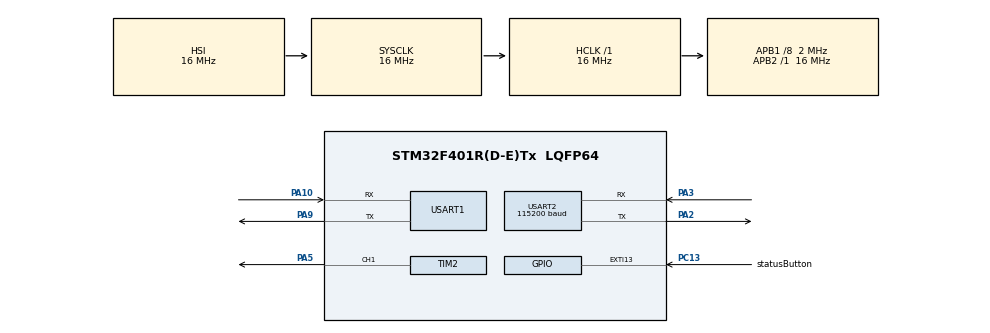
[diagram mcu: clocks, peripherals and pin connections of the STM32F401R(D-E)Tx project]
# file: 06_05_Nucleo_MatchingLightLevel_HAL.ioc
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Mcu.Family=STM32F4
Mcu.Name=STM32F401R(D-E)Tx
Mcu.Package=LQFP64
NVIC.EXTI15_10_IRQn=true\:0\:0\:false\:false\:true\:true\:true\:true
NVIC.PriorityGroup=NVIC_PRIORITYGROUP_4
PA10.Mode=Asynchronous
PA10.Signal=USART1_RX
PA2.Mode=Asynchronous
PA2.Signal=USART2_TX
PA3.Mode=Asynchronous
PA3.Signal=USART2_RX
PA5.Signal=S_TIM2_CH1_ETR
PA9.Mode=Asynchronous
PA9.Signal=USART1_TX
PC13-ANTI_TAMP.GPIO_Label=statusButton
PC13-ANTI_TAMP.Signal=GPXTI13
PH0\ -\ OSC_IN.Mode=HSE-External-Oscillator
PH0\ -\ OSC_IN.Signal=RCC_OSC_IN
PH1\ -\ OSC_OUT.Mode=HSE-External-Oscillator
PH1\ -\ OSC_OUT.Signal=RCC_OSC_OUT
ProjectManager.HeapSize=0x200
ProjectManager.StackSize=0x400
ProjectManager.TargetToolchain=STM32CubeIDE
RCC.48MHZClocksFreq_Value=48000000
RCC.AHBFreq_Value=16000000
RCC.APB1CLKDivider=RCC_HCLK_DIV8
RCC.APB1Freq_Value=2000000
RCC.APB1TimFreq_Value=4000000
RCC.APB2Freq_Value=16000000
RCC.CortexFreq_Value=16000000
RCC.HSE_VALUE=8000000
RCC.HSI_VALUE=16000000
RCC.LSE_VALUE=32768
RCC.SYSCLKFreq_VALUE=16000000
RCC.VCOOutputFreq_Value=192000000
SH.S_TIM2_CH1_ETR.0=TIM2_CH1,PWM Generation1 CH1
TIM2.Channel-PWM\ Generation1\ CH1=TIM_CHANNEL_1
TIM2.Period=100
TIM2.Prescaler=16
USART1.VirtualMode=VM_ASYNC
USART2.BaudRate=115200
USART2.VirtualMode=VM_ASYNC
board=custom

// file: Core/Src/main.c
/* USER CODE BEGIN Header */
/**
  ******************************************************************************
  * @file           : main.c
  * @brief          : Main program body
  ******************************************************************************
  * @attention
  *
  * Copyright (c) 2025 STMicroelectronics.
  * All rights reserved.
  *
  * This software is licensed under terms that can be found in the LICENSE file
  * in the root directory of this software component.
  * If no LICENSE file comes with this software, it is provided AS-IS.
  *
  ******************************************************************************
  */
/* USER CODE END Header */
#include "main.h"

TIM_HandleTypeDef htim2;

UART_HandleTypeDef huart1;
UART_HandleTypeDef huart2;

/* USER CODE BEGIN PV */

uint8_t status;
uint8_t isFirst;
/* USER CODE END PV */

void SystemClock_Config(void);
static void MX_GPIO_Init(void);
static void MX_TIM2_Init(void);
static void MX_USART1_UART_Init(void);
static void MX_USART2_UART_Init(void);

int main(void)
{

  /* USER CODE BEGIN 1 */

  uint8_t duty = 10;
  status = 0x0;
  isFirst = 0x1;
  uint8_t dutyOld = 0;
  /* USER CODE END 1 */

  /* MCU Configuration--------------------------------------------------------*/

  /* Reset of all peripherals, Initializes the Flash interface and the Systick. */
  HAL_Init();

  /* Configure the system clock */
  SystemClock_Config();

  /* Initialize all configured peripherals */
  MX_GPIO_Init();
  MX_TIM2_Init();
  MX_USART1_UART_Init();
  MX_USART2_UART_Init();
  /* USER CODE BEGIN 2 */

  TIM2->CCR1 = duty;
  HAL_TIM_PWM_Start(&htim2, TIM_CHANNEL_1);
  /* USER CODE END 2 */

  /* Infinite loop */
  /* USER CODE BEGIN WHILE */
  while (1)
  {

	  if(status == 1){
		  if(isFirst == 1){
			  TIM2->CCR1 = 100;
			  HAL_Delay(100);
			  TIM2->CCR1 = 0;
			  HAL_Delay(100);
			  isFirst = 0;
		  }
		  // first way
		  // receive & send duty
		  HAL_UART_Receive(&huart2, &duty, 1, 20);
		  dutyOld = duty;
		  HAL_UART_Transmit(&huart1, &duty, 1, 20);

		  HAL_UART_Receive(&huart1, &duty, 1, 20);
		  if (duty == 200){
			  status ^= 0x1;
			  isFirst = 1;
		  }
		  else
			  duty = dutyOld;
	  }
	  else if (status == 0){
		  if(isFirst == 1){
			  TIM2->CCR1 = 100;
			  HAL_Delay(100);
			  TIM2->CCR1 = 0;
			  HAL_Delay(100);
			  TIM2->CCR1 = 100;
			  HAL_Delay(100);
			  TIM2->CCR1 = 0;
			  HAL_Delay(100);
			  isFirst = 0;
		  }
		  // second way
		  HAL_UART_Receive(&huart1, &duty, 1, 20);
		  if (duty == 200){
			  status ^= 0x1;
			  isFirst = 1;

		  }
	  }

	  // LED duty sync
	  TIM2->CCR1 = duty;

    /* USER CODE END WHILE */

  }
}

void SystemClock_Config(void)
{
  RCC_OscInitTypeDef RCC_OscInitStruct = {0};
  RCC_ClkInitTypeDef RCC_ClkInitStruct = {0};

  /** Configure the main internal regulator output voltage
  */
  __HAL_RCC_PWR_CLK_ENABLE();
  __HAL_PWR_VOLTAGESCALING_CONFIG(PWR_REGULATOR_VOLTAGE_SCALE2);

  /** Initializes the RCC Oscillators according to the specified parameters
  * in the RCC_OscInitTypeDef structure.
  */
  RCC_OscInitStruct.OscillatorType = RCC_OSCILLATORTYPE_HSI;
  RCC_OscInitStruct.HSIState = RCC_HSI_ON;
  RCC_OscInitStruct.HSICalibrationValue = RCC_HSICALIBRATION_DEFAULT;
  RCC_OscInitStruct.PLL.PLLState = RCC_PLL_NONE;
  if (HAL_RCC_OscConfig(&RCC_OscInitStruct) != HAL_OK)
  {
    Error_Handler();
  }

  /** Initializes the CPU, AHB and APB buses clocks
  */
  RCC_ClkInitStruct.ClockType = RCC_CLOCKTYPE_HCLK|RCC_CLOCKTYPE_SYSCLK
                              |RCC_CLOCKTYPE_PCLK1|RCC_CLOCKTYPE_PCLK2;
  RCC_ClkInitStruct.SYSCLKSource = RCC_SYSCLKSOURCE_HSI;
  RCC_ClkInitStruct.AHBCLKDivider = RCC_SYSCLK_DIV1;
  RCC_ClkInitStruct.APB1CLKDivider = RCC_HCLK_DIV8;
  RCC_ClkInitStruct.APB2CLKDivider = RCC_HCLK_DIV1;

  if (HAL_RCC_ClockConfig(&RCC_ClkInitStruct, FLASH_LATENCY_0) != HAL_OK)
  {
    Error_Handler();
  }
}

static void MX_TIM2_Init(void)
{

  TIM_MasterConfigTypeDef sMasterConfig = {0};
  TIM_OC_InitTypeDef sConfigOC = {0};

  htim2.Instance = TIM2;
  htim2.Init.Prescaler = 16;
  htim2.Init.CounterMode = TIM_COUNTERMODE_UP;
  htim2.Init.Period = 100;
  htim2.Init.ClockDivision = TIM_CLOCKDIVISION_DIV1;
  htim2.Init.AutoReloadPreload = TIM_AUTORELOAD_PRELOAD_DISABLE;
  if (HAL_TIM_PWM_Init(&htim2) != HAL_OK)
  {
    Error_Handler();
  }
  sMasterConfig.MasterOutputTrigger = TIM_TRGO_RESET;
  sMasterConfig.MasterSlaveMode = TIM_MASTERSLAVEMODE_DISABLE;
  if (HAL_TIMEx_MasterConfigSynchronization(&htim2, &sMasterConfig) != HAL_OK)
  {
    Error_Handler();
  }
  sConfigOC.OCMode = TIM_OCMODE_PWM1;
  sConfigOC.Pulse = 0;
  sConfigOC.OCPolarity = TIM_OCPOLARITY_HIGH;
  sConfigOC.OCFastMode = TIM_OCFAST_DISABLE;
  if (HAL_TIM_PWM_ConfigChannel(&htim2, &sConfigOC, TIM_CHANNEL_1) != HAL_OK)
  {
    Error_Handler();
  }
  HAL_TIM_MspPostInit(&htim2);

}

static void MX_USART1_UART_Init(void)
{

  huart1.Instance = USART1;
  huart1.Init.BaudRate = 115200;
  huart1.Init.WordLength = UART_WORDLENGTH_8B;
  huart1.Init.StopBits = UART_STOPBITS_1;
  huart1.Init.Parity = UART_PARITY_NONE;
  huart1.Init.Mode = UART_MODE_TX_RX;
  huart1.Init.HwFlowCtl = UART_HWCONTROL_NONE;
  huart1.Init.OverSampling = UART_OVERSAMPLING_16;
  if (HAL_UART_Init(&huart1) != HAL_OK)
  {
    Error_Handler();
  }

}

static void MX_USART2_UART_Init(void)
{

  huart2.Instance = USART2;
  huart2.Init.BaudRate = 115200;
  huart2.Init.WordLength = UART_WORDLENGTH_8B;
  huart2.Init.StopBits = UART_STOPBITS_1;
  huart2.Init.Parity = UART_PARITY_NONE;
  huart2.Init.Mode = UART_MODE_TX_RX;
  huart2.Init.HwFlowCtl = UART_HWCONTROL_NONE;
  huart2.Init.OverSampling = UART_OVERSAMPLING_16;
  if (HAL_UART_Init(&huart2) != HAL_OK)
  {
    Error_Handler();
  }

}

static void MX_GPIO_Init(void)
{
  GPIO_InitTypeDef GPIO_InitStruct = {0};

  /* GPIO Ports Clock Enable */
  __HAL_RCC_GPIOC_CLK_ENABLE();
  __HAL_RCC_GPIOH_CLK_ENABLE();
  __HAL_RCC_GPIOA_CLK_ENABLE();

  /*Configure GPIO pin : statusButton_Pin */
  GPIO_InitStruct.Pin = statusButton_Pin;
  GPIO_InitStruct.Mode = GPIO_MODE_IT_RISING;
  GPIO_InitStruct.Pull = GPIO_NOPULL;
  HAL_GPIO_Init(statusButton_GPIO_Port, &GPIO_InitStruct);

  /* EXTI interrupt init*/
  HAL_NVIC_SetPriority(EXTI15_10_IRQn, 0, 0);
  HAL_NVIC_EnableIRQ(EXTI15_10_IRQn);

}

/* USER CODE BEGIN 4 */
void HAL_GPIO_EXTI_Callback(uint16_t GPIO_Pin)
{
  /* Prevent unused argument(s) compilation warning */
  UNUSED(GPIO_Pin);
  /* NOTE: This function Should not be modified, when the callback is needed,
           the HAL_GPIO_EXTI_Callback could be implemented in the user file
   */

  HAL_UART_Transmit(&huart1, 200, 1, HAL_MAX_DELAY);
  status ^= 0x1;
  isFirst = 1;

  // Don't use HAL_Delay here
  // Something wrong happens with GetTick inside if you want delay here use custom function
  // that subtracts numbers that you have calculated the time of

}

/* USER CODE END 4 */

void Error_Handler(void)
{
  __disable_irq();
  while (1)
  {
  }
}
